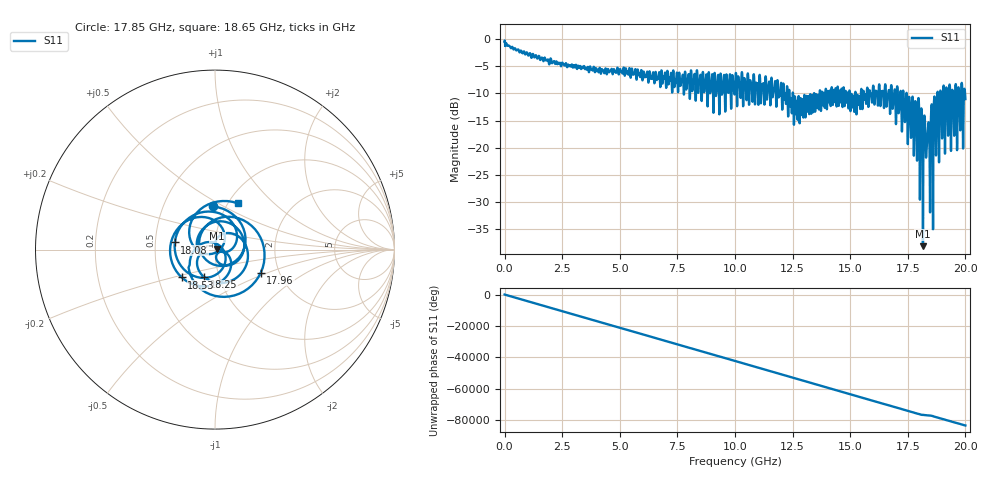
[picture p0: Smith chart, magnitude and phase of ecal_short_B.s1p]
! MS46122B
! 2250307/22442219
! 6/13/2025 8:41:39 AM
! C:\USERS\SPARKY\DOCUMENTS\VNA_DATA\JUNE13_2025\ECAL_SHORT_B.S1P
! CHANNEL.1
! TR.MEASUREMENT
! RAW.DATA
# GHZ S RI R 50.0
! FREQ.GHZ  S11RE  S11IM
!; PortSelection: Port_1
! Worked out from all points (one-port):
!   10001 points, 1 MHz to 20 GHz, reference 50 ohm
!   lowest |S11| = -38.2 dB at 18.16 GHz (marker M1), VSWR 1.02, Z = 51.2 + j0.438 ohm
!   |S11| at or under -10 dB: 12.52 GHz to 13.43 GHz (911.5 MHz wide, 7.03 % of centre); 14.98 GHz to 15.22 GHz (234.3 MHz wide, 1.55 % of centre); 17.45 GHz to 18.78 GHz (1.331 GHz wide, 7.35 % of centre) (the widest 3 of 78)
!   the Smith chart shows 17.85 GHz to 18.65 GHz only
!   S11 on the Smith chart (normalised r, x): 17.85 GHz: 0.87, +0.45; 17.96 GHz: 1.61, -0.45; 18.08 GHz: 0.63, +0.05; 18.25 GHz: 0.85, -0.27; 18.53 GHz: 0.66, -0.22; 18.65 GHz: 1.11, +0.62
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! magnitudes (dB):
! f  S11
! 1 MHz  -0.4
! 2.501 GHz  -4.3
! 5.001 GHz  -5.6
! 7.501 GHz  -7.2
! 10 GHz  -8.9
! 11.66 GHz  -9.4
! 12.5 GHz  -10.2
! 15 GHz  -12.2
! 16.33 GHz  -11.0
! 17.5 GHz  -19.3
! 17.85 GHz  -12.4
! 17.9 GHz  -22.4
! 17.96 GHz  -10.9
! 18.03 GHz  -25.9
! 18.08 GHz  -12.9
! 18.16 GHz  -38.2
! 18.25 GHz  -15.6
! 18.3 GHz  -21.8
! 18.38 GHz  -16.0
! 18.53 GHz  -12.3
! 18.59 GHz  -30.4
! 18.65 GHz  -10.8
! 18.72 GHz  -21.3
! 18.79 GHz  -9.8
! 18.99 GHz  -18.2
! 19.45 GHz  -9.5
! 19.51 GHz  -17.1
! 20 GHz  -11.0
